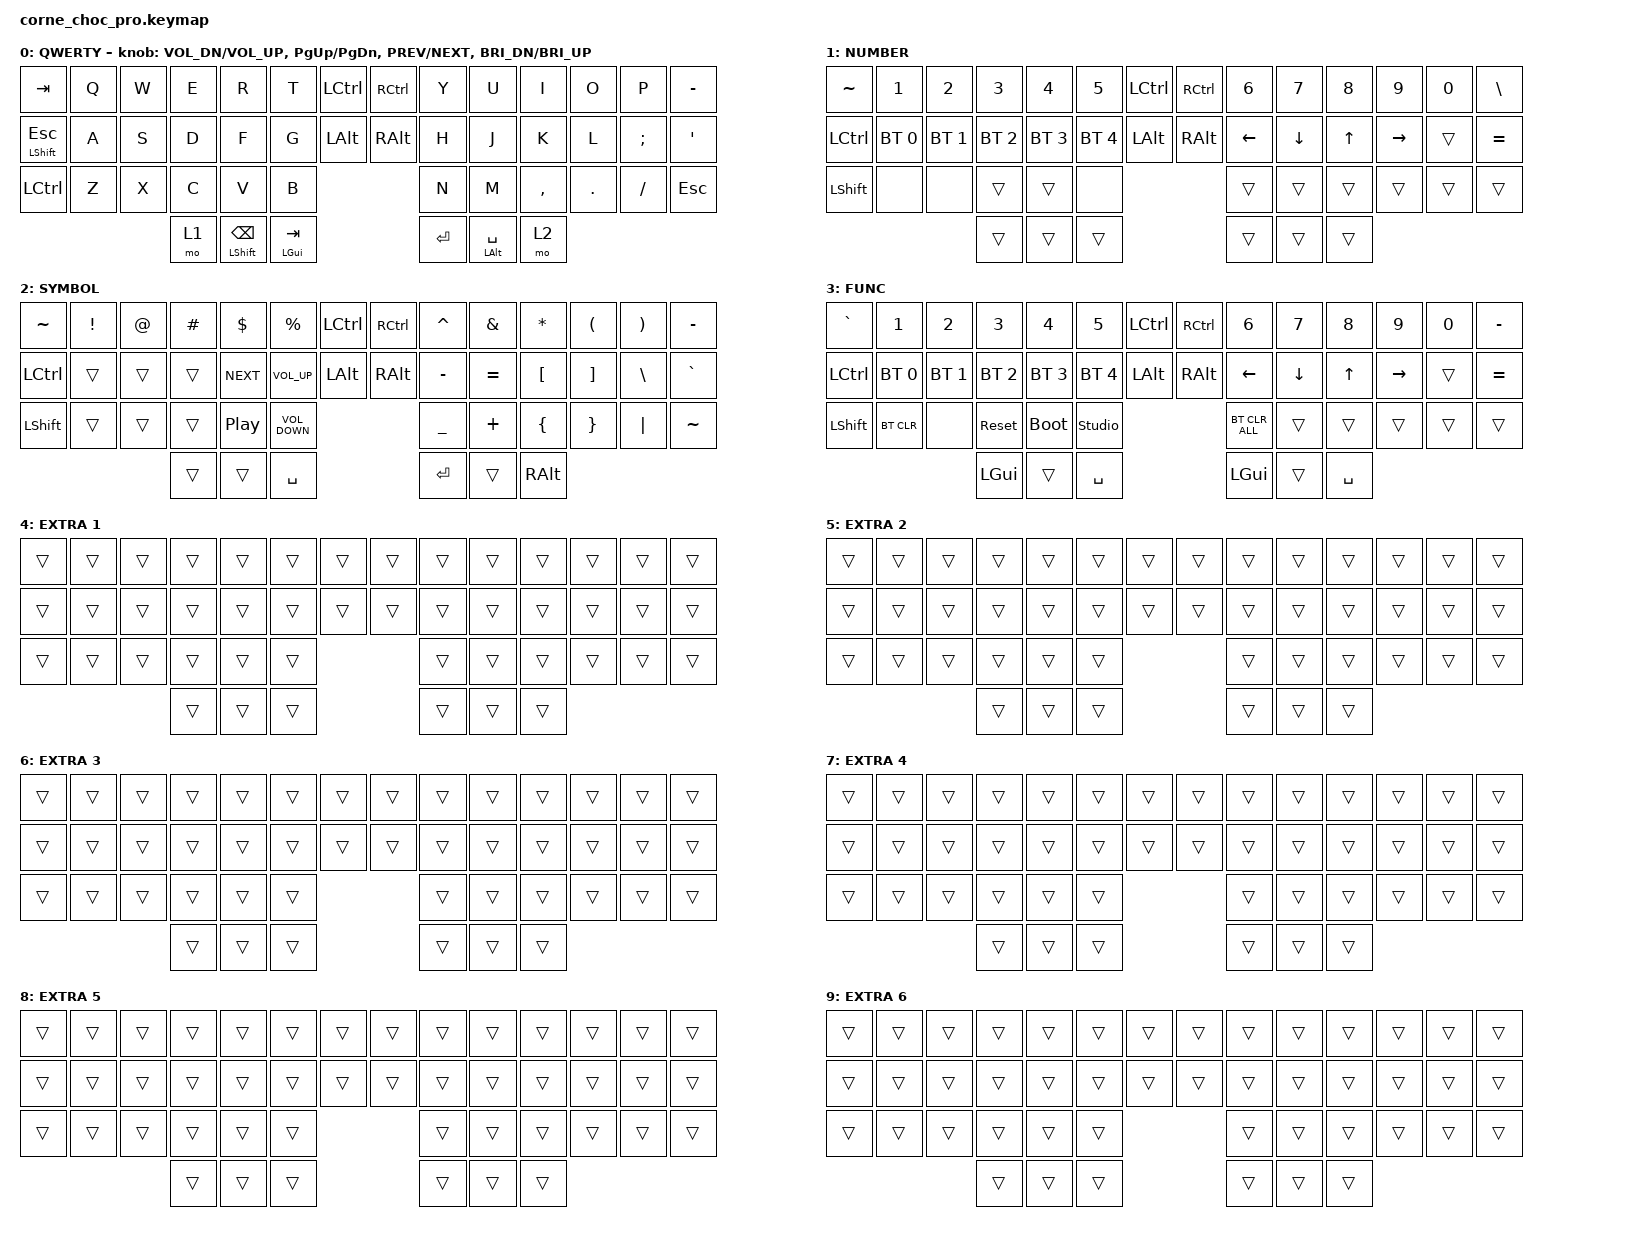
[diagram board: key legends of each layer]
/*
 * Copyright (c) 2020 The ZMK Contributors
 *
 * SPDX-License-Identifier: MIT
 */

#include <behaviors.dtsi>
#include <dt-bindings/zmk/bt.h>
#include <dt-bindings/zmk/keys.h>
#include <dt-bindings/zmk/rgb.h>

/ {
    chosen { zmk,physical-layout = &default_layout; };
};

/ {
    keymap {
        compatible = "zmk,keymap";

        default_layer {
            display-name = "QWERTY";

            // --------------------------------------------------------------------------------
            // |  TAB |  Q  |  W  |  E  |  R  |  T  |  LCTRL |  RCTRL   |  Y  |  U   |  I  |  O  |  P  | \ |
            // | ESC |  A  |  S  |  D  |  F  |  G  |  LALT  |  RALT    |  H  |  J   |  K  |  L  |  ;  |  '   |
            // | CTRL |  Z  |  X  |  C  |  V  |  B  |                   |  N  |  M   |  ,  |  .  |  /  | ESC  |
            //                    | LY1 | BSPC | GUI |                   | ENT | SPACE  | LY2 |

            bindings = <
&kp TAB                &kp Q  &kp W  &kp E  &kp R           &kp T         &kp LCTRL  &kp RCTRL  &kp Y    &kp U           &kp I      &kp O    &kp P     &kp MINUS
&mt LEFT_SHIFT ESCAPE  &kp A  &kp S  &kp D  &kp F           &kp G         &kp LALT   &kp RALT   &kp H    &kp J           &kp K      &kp L    &kp SEMI  &kp SQT
&kp LCTRL              &kp Z  &kp X  &kp C  &kp V           &kp B                               &kp N    &kp M           &kp COMMA  &kp DOT  &kp FSLH  &kp ESC
                                     &mo 1  &mt LSHFT BSPC  &mt LGUI TAB                        &kp RET  &mt LALT SPACE  &mo 2
            >;

            sensor-bindings = <&inc_dec_kp C_VOL_DN C_VOL_UP &inc_dec_kp PG_UP PG_DN &inc_dec_kp C_PREV C_NEXT &inc_dec_kp C_BRI_DN C_BRI_UP>;
        };

        number_layer {
            display-name = "NUMBER";

            // -----------------------------------------------------------------------------------------
            // |  TAB |  1  |  2  |  3  |  4  |  5    |  LCTRL | RCTRL |  6  |  7  |  8  |  9  |  0  | BSPC |
            // | CTRL | BT1 | BT2 | BT3 | BT4 | BT5   |  LALT  | RALT  | LFT | DWN |  UP | RGT |     |      |
            // | SHFT |     |     |     |     |       |        |       |     |     |     |     |     |      |
            //                    | GUI |     | SPC   |        | ENT   |     | ALT |

            bindings = <
&kp TILDE  &kp N1           &kp N2           &kp N3        &kp N4        &kp N5          &kp LCTRL  &kp RCTRL  &kp N6    &kp N7    &kp N8  &kp N9     &kp N0  &kp BSLH
&kp LCTRL  &bt BT_SEL 0     &bt BT_SEL 1     &bt BT_SEL 2  &bt BT_SEL 3  &bt BT_SEL 4    &kp LALT   &kp RALT   &kp LEFT  &kp DOWN  &kp UP  &kp RIGHT  &trans  &kp EQUAL
&kp LSHFT  &none            &none            &trans        &trans        &none                                 &trans    &trans    &trans  &trans     &trans  &trans
                                             &trans        &trans        &trans                                &trans    &trans    &trans
            >;
        };

        symbol_layer {
            display-name = "SYMBOL";

            // -----------------------------------------------------------------------------------------
            // |  TAB |  !  |  @  |  #  |  $  |  %  | LCTRL | RCTRL |  ^  |  &  |  *  |  (  |  )  | BSPC |
            // | CTRL |     |     |     |     |     |  LALT | RALT  |  -  |  =  |  [  |  ]  |  \  |  `   |
            // | SHFT |     |     |     |     |     |               |  _  |  +  |  {  |  }  | "|" |  ~   |
            //                    | GUI |     | SPC |               | ENT |     | ALT |

            bindings = <
&kp TILDE  &kp EXCL  &kp AT  &kp HASH  &kp DLLR          &kp PRCNT          &kp LCTRL  &kp RCTRL  &kp CARET  &kp AMPS   &kp ASTRK  &kp LPAR  &kp RPAR  &kp MINUS
&kp LCTRL  &trans    &trans  &trans    &kp C_NEXT        &kp C_VOLUME_UP    &kp LALT   &kp RALT   &kp MINUS  &kp EQUAL  &kp LBKT   &kp RBKT  &kp BSLH  &kp GRAVE
&kp LSHFT  &trans    &trans  &trans    &kp C_PLAY_PAUSE  &kp C_VOLUME_DOWN                        &kp UNDER  &kp PLUS   &kp LBRC   &kp RBRC  &kp PIPE  &kp TILDE
                             &trans    &trans            &kp SPACE                                &kp RET    &trans     &kp RALT
            >;
        };

        function_layer {
            display-name = "FUNC";

            // Reached by holding LY1 + LY2 (conditional layer below).
            // -----------------------------------------------------------------------------------------
            // |  TAB |  1  |  2  |  3  |  4  |  5    |  LCTRL | RCTRL |  6  |  7  |  8  |  9  |  0  | BSPC |
            // | CTRL | BT1 | BT2 | BT3 | BT4 | BT5   |  LALT  | RALT  | LFT | DWN |  UP | RGT |     |      |
            // | SHFT | BTCR|     | RST | BOOT| Unlock|        |       |BTCLA|     |     |     |     |      |
            //                    | GUI |     | SPC   |        | ENT   |     | ALT |

            bindings = <
&kp GRAVE  &kp N1        &kp N2           &kp N3        &kp N4        &kp N5          &kp LCTRL  &kp RCTRL  &kp N6    &kp N7    &kp N8     &kp N9     &kp N0  &kp MINUS
&kp LCTRL  &bt BT_SEL 0  &bt BT_SEL 1     &bt BT_SEL 2  &bt BT_SEL 3  &bt BT_SEL 4    &kp LALT   &kp RALT   &kp LEFT  &kp DOWN  &kp UP     &kp RIGHT  &trans  &kp EQUAL
&kp LSHFT  &bt BT_CLR    &none            &sys_reset    &bootloader   &studio_unlock                        &bt BT_CLR_ALL  &trans    &trans     &trans     &trans  &trans
                                          &kp LGUI      &trans        &kp SPACE                             &kp LGUI  &trans    &kp SPACE
            >;
        };

        extra_layer_1 {
            display-name = "EXTRA 1";
            bindings = <
&trans  &trans  &trans  &trans  &trans  &trans  &trans  &trans  &trans  &trans  &trans  &trans  &trans  &trans
&trans  &trans  &trans  &trans  &trans  &trans  &trans  &trans  &trans  &trans  &trans  &trans  &trans  &trans
&trans  &trans  &trans  &trans  &trans  &trans                  &trans  &trans  &trans  &trans  &trans  &trans
                        &trans  &trans  &trans                  &trans  &trans  &trans
            >;
        };

        extra_layer_2 {
            display-name = "EXTRA 2";
            bindings = <
&trans  &trans  &trans  &trans  &trans  &trans  &trans  &trans  &trans  &trans  &trans  &trans  &trans  &trans
&trans  &trans  &trans  &trans  &trans  &trans  &trans  &trans  &trans  &trans  &trans  &trans  &trans  &trans
&trans  &trans  &trans  &trans  &trans  &trans                  &trans  &trans  &trans  &trans  &trans  &trans
                        &trans  &trans  &trans                  &trans  &trans  &trans
            >;
        };

        extra_layer_3 {
            display-name = "EXTRA 3";
            bindings = <
&trans  &trans  &trans  &trans  &trans  &trans  &trans  &trans  &trans  &trans  &trans  &trans  &trans  &trans
&trans  &trans  &trans  &trans  &trans  &trans  &trans  &trans  &trans  &trans  &trans  &trans  &trans  &trans
&trans  &trans  &trans  &trans  &trans  &trans                  &trans  &trans  &trans  &trans  &trans  &trans
                        &trans  &trans  &trans                  &trans  &trans  &trans
            >;
        };

        extra_layer_4 {
            display-name = "EXTRA 4";
            bindings = <
&trans  &trans  &trans  &trans  &trans  &trans  &trans  &trans  &trans  &trans  &trans  &trans  &trans  &trans
&trans  &trans  &trans  &trans  &trans  &trans  &trans  &trans  &trans  &trans  &trans  &trans  &trans  &trans
&trans  &trans  &trans  &trans  &trans  &trans                  &trans  &trans  &trans  &trans  &trans  &trans
                        &trans  &trans  &trans                  &trans  &trans  &trans
            >;
        };

        extra_layer_5 {
            display-name = "EXTRA 5";
            bindings = <
&trans  &trans  &trans  &trans  &trans  &trans  &trans  &trans  &trans  &trans  &trans  &trans  &trans  &trans
&trans  &trans  &trans  &trans  &trans  &trans  &trans  &trans  &trans  &trans  &trans  &trans  &trans  &trans
&trans  &trans  &trans  &trans  &trans  &trans                  &trans  &trans  &trans  &trans  &trans  &trans
                        &trans  &trans  &trans                  &trans  &trans  &trans
            >;
        };

        extra_layer_6 {
            display-name = "EXTRA 6";
            bindings = <
&trans  &trans  &trans  &trans  &trans  &trans  &trans  &trans  &trans  &trans  &trans  &trans  &trans  &trans
&trans  &trans  &trans  &trans  &trans  &trans  &trans  &trans  &trans  &trans  &trans  &trans  &trans  &trans
&trans  &trans  &trans  &trans  &trans  &trans                  &trans  &trans  &trans  &trans  &trans  &trans
                        &trans  &trans  &trans                  &trans  &trans  &trans
            >;
        };
    };

    conditional_layers {
        compatible = "zmk,conditional-layers";

        // LY1 + LY2 → FUNC (Bluetooth clear, reset, bootloader, Studio unlock)
        tri_layer {
            if-layers = <1 2>;
            then-layer = <3>;
        };
    };
};
